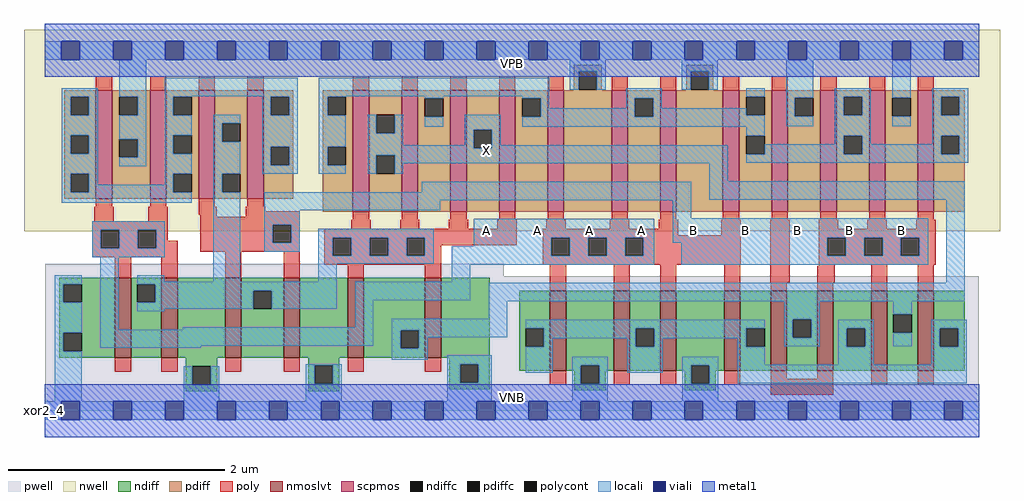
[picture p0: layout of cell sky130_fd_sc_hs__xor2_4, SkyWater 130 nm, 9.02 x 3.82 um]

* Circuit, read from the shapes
.subckt sky130_fd_sc_hs__xor2_4 A B VGND VNB VPB VPWR X
XM1 n1 A VGND VNB sky130_fd_pr__nfet_01v8_lvt w=0.74 l=0.15 m=2
XM2 n1 B VGND VNB sky130_fd_pr__nfet_01v8_lvt w=0.74 l=0.15 m=2
XM3 X n1 VGND VNB sky130_fd_pr__nfet_01v8_lvt w=0.74 l=0.15 m=2
XM4 VGND A n2 VNB sky130_fd_pr__nfet_01v8_lvt w=0.74 l=0.15 m=4
XM5 X B n2 VNB sky130_fd_pr__nfet_01v8_lvt w=0.74 l=0.15 m=4
XM6 VPWR A n3 VPB sky130_fd_pr__pfet_01v8 w=1 l=0.15 m=2
XM7 n1 B n3 VPB sky130_fd_pr__pfet_01v8 w=1 l=0.15 m=2
XM8 X n1 n4 VPB sky130_fd_pr__pfet_01v8 w=1.12 l=0.15 m=4
XM9 VPWR A n4 VPB sky130_fd_pr__pfet_01v8 w=1.12 l=0.15 m=4
XM10 VPWR B n4 VPB sky130_fd_pr__pfet_01v8 w=1.12 l=0.15 m=4
.ends

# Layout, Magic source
magic
tech sky130A
magscale 1 2
<< nwell >>
rect -38 332 1766 704
<< pwell >>
rect 1 248 849 272
rect 1 49 1727 248
rect 0 0 1728 49
<< scpmos >>
rect 95 392 125 592
rect 195 392 225 592
rect 285 392 315 592
rect 375 392 405 592
rect 570 368 600 592
rect 660 368 690 592
rect 750 368 780 592
rect 840 368 870 592
rect 930 368 960 592
rect 1048 368 1078 592
rect 1138 368 1168 592
rect 1254 368 1284 592
rect 1344 368 1374 592
rect 1434 368 1464 592
rect 1524 368 1554 592
rect 1614 368 1644 592
<< nmoslvt >>
rect 130 98 160 246
rect 216 98 246 246
rect 334 98 364 246
rect 442 98 472 246
rect 560 98 590 246
rect 703 98 733 246
rect 934 74 964 222
rect 1052 74 1082 222
rect 1138 74 1168 222
rect 1256 74 1286 222
rect 1342 74 1372 222
rect 1428 74 1458 222
rect 1528 74 1558 222
rect 1614 74 1644 222
<< ndiff >>
rect 27 234 130 246
rect 27 200 35 234
rect 69 200 130 234
rect 27 144 130 200
rect 27 110 35 144
rect 69 110 130 144
rect 27 98 130 110
rect 160 234 216 246
rect 160 200 171 234
rect 205 200 216 234
rect 160 98 216 200
rect 246 98 334 246
rect 364 222 442 246
rect 364 188 386 222
rect 420 188 442 222
rect 364 98 442 188
rect 472 98 560 246
rect 590 149 703 246
rect 590 115 658 149
rect 692 115 703 149
rect 590 98 703 115
rect 733 98 823 246
rect 261 82 319 98
rect 261 48 273 82
rect 307 48 319 82
rect 487 84 545 98
rect 261 36 319 48
rect 487 50 499 84
rect 533 50 545 84
rect 748 86 823 98
rect 487 36 545 50
rect 748 52 768 86
rect 802 52 823 86
rect 877 152 934 222
rect 877 118 889 152
rect 923 118 934 152
rect 877 74 934 118
rect 964 84 1052 222
rect 964 74 991 84
rect 748 40 823 52
rect 979 50 991 74
rect 1025 74 1052 84
rect 1082 152 1138 222
rect 1082 118 1093 152
rect 1127 118 1138 152
rect 1082 74 1138 118
rect 1168 84 1256 222
rect 1168 74 1195 84
rect 1025 50 1037 74
rect 979 38 1037 50
rect 1183 50 1195 74
rect 1229 74 1256 84
rect 1286 152 1342 222
rect 1286 118 1297 152
rect 1331 118 1342 152
rect 1286 74 1342 118
rect 1372 169 1428 222
rect 1372 135 1383 169
rect 1417 135 1428 169
rect 1372 74 1428 135
rect 1458 152 1528 222
rect 1458 118 1483 152
rect 1517 118 1528 152
rect 1458 74 1528 118
rect 1558 178 1614 222
rect 1558 144 1569 178
rect 1603 144 1614 178
rect 1558 74 1614 144
rect 1644 152 1701 222
rect 1644 118 1655 152
rect 1689 118 1701 152
rect 1644 74 1701 118
rect 1229 50 1241 74
rect 1183 38 1241 50
<< pdiff >>
rect 978 627 1030 639
rect 978 593 987 627
rect 1021 593 1030 627
rect 1186 627 1236 639
rect 978 592 1030 593
rect 1186 593 1194 627
rect 1228 593 1236 627
rect 1186 592 1236 593
rect 36 580 95 592
rect 36 546 48 580
rect 82 546 95 580
rect 36 509 95 546
rect 36 475 48 509
rect 82 475 95 509
rect 36 438 95 475
rect 36 404 48 438
rect 82 404 95 438
rect 36 392 95 404
rect 125 580 195 592
rect 125 546 138 580
rect 172 546 195 580
rect 125 502 195 546
rect 125 468 138 502
rect 172 468 195 502
rect 125 392 195 468
rect 225 580 285 592
rect 225 546 238 580
rect 272 546 285 580
rect 225 509 285 546
rect 225 475 238 509
rect 272 475 285 509
rect 225 438 285 475
rect 225 404 238 438
rect 272 404 285 438
rect 225 392 285 404
rect 315 531 375 592
rect 315 497 328 531
rect 362 497 375 531
rect 315 438 375 497
rect 315 404 328 438
rect 362 404 375 438
rect 315 392 375 404
rect 405 580 460 592
rect 405 546 418 580
rect 452 546 460 580
rect 405 488 460 546
rect 405 454 418 488
rect 452 454 460 488
rect 405 392 460 454
rect 514 580 570 592
rect 514 546 523 580
rect 557 546 570 580
rect 514 488 570 546
rect 514 454 523 488
rect 557 454 570 488
rect 514 368 570 454
rect 600 547 660 592
rect 600 513 613 547
rect 647 513 660 547
rect 600 472 660 513
rect 600 438 613 472
rect 647 438 660 472
rect 600 368 660 438
rect 690 577 750 592
rect 690 543 703 577
rect 737 543 750 577
rect 690 368 750 543
rect 780 519 840 592
rect 780 485 793 519
rect 827 485 840 519
rect 780 368 840 485
rect 870 577 930 592
rect 870 543 883 577
rect 917 543 930 577
rect 870 368 930 543
rect 960 368 1048 592
rect 1078 577 1138 592
rect 1078 543 1091 577
rect 1125 543 1138 577
rect 1078 368 1138 543
rect 1168 368 1254 592
rect 1284 580 1344 592
rect 1284 546 1297 580
rect 1331 546 1344 580
rect 1284 508 1344 546
rect 1284 474 1297 508
rect 1331 474 1344 508
rect 1284 368 1344 474
rect 1374 578 1434 592
rect 1374 544 1387 578
rect 1421 544 1434 578
rect 1374 368 1434 544
rect 1464 580 1524 592
rect 1464 546 1477 580
rect 1511 546 1524 580
rect 1464 508 1524 546
rect 1464 474 1477 508
rect 1511 474 1524 508
rect 1464 368 1524 474
rect 1554 578 1614 592
rect 1554 544 1567 578
rect 1601 544 1614 578
rect 1554 368 1614 544
rect 1644 580 1701 592
rect 1644 546 1657 580
rect 1691 546 1701 580
rect 1644 508 1701 546
rect 1644 474 1657 508
rect 1691 474 1701 508
rect 1644 368 1701 474
<< ndiffc >>
rect 35 200 69 234
rect 35 110 69 144
rect 171 200 205 234
rect 386 188 420 222
rect 658 115 692 149
rect 273 48 307 82
rect 499 50 533 84
rect 768 52 802 86
rect 889 118 923 152
rect 991 50 1025 84
rect 1093 118 1127 152
rect 1195 50 1229 84
rect 1297 118 1331 152
rect 1383 135 1417 169
rect 1483 118 1517 152
rect 1569 144 1603 178
rect 1655 118 1689 152
<< pdiffc >>
rect 987 593 1021 627
rect 1194 593 1228 627
rect 48 546 82 580
rect 48 475 82 509
rect 48 404 82 438
rect 138 546 172 580
rect 138 468 172 502
rect 238 546 272 580
rect 238 475 272 509
rect 238 404 272 438
rect 328 497 362 531
rect 328 404 362 438
rect 418 546 452 580
rect 418 454 452 488
rect 523 546 557 580
rect 523 454 557 488
rect 613 513 647 547
rect 613 438 647 472
rect 703 543 737 577
rect 793 485 827 519
rect 883 543 917 577
rect 1091 543 1125 577
rect 1297 546 1331 580
rect 1297 474 1331 508
rect 1387 544 1421 578
rect 1477 546 1511 580
rect 1477 474 1511 508
rect 1567 544 1601 578
rect 1657 546 1691 580
rect 1657 474 1691 508
<< poly >>
rect 95 592 125 618
rect 195 592 225 618
rect 285 592 315 618
rect 375 592 405 618
rect 570 592 600 618
rect 660 592 690 618
rect 750 592 780 618
rect 840 592 870 618
rect 930 592 960 618
rect 1048 592 1078 618
rect 1138 592 1168 618
rect 1254 592 1284 618
rect 1344 592 1374 618
rect 1434 592 1464 618
rect 1524 592 1554 618
rect 1614 592 1644 618
rect 95 377 125 392
rect 195 377 225 392
rect 285 377 315 392
rect 375 377 405 392
rect 92 350 128 377
rect 192 350 228 377
rect 285 362 318 377
rect 88 334 228 350
rect 88 300 104 334
rect 138 300 172 334
rect 206 314 228 334
rect 288 358 318 362
rect 372 369 408 377
rect 372 358 472 369
rect 288 344 472 358
rect 570 353 600 368
rect 660 353 690 368
rect 750 353 780 368
rect 840 353 870 368
rect 930 353 960 368
rect 1048 353 1078 368
rect 1138 353 1168 368
rect 1254 353 1284 368
rect 1344 353 1374 368
rect 1434 353 1464 368
rect 1524 353 1554 368
rect 1614 353 1644 368
rect 206 300 246 314
rect 88 284 246 300
rect 288 310 422 344
rect 456 310 472 344
rect 567 336 603 353
rect 657 336 693 353
rect 747 336 783 353
rect 837 336 873 353
rect 927 336 963 353
rect 1045 336 1081 353
rect 1135 336 1171 353
rect 288 294 472 310
rect 130 246 160 284
rect 216 246 246 284
rect 334 246 364 294
rect 442 246 472 294
rect 517 320 873 336
rect 517 286 533 320
rect 567 286 601 320
rect 635 286 669 320
rect 703 306 873 320
rect 921 324 1171 336
rect 1251 324 1287 353
rect 921 320 1287 324
rect 703 286 733 306
rect 517 270 733 286
rect 921 286 937 320
rect 971 286 1005 320
rect 1039 286 1073 320
rect 1107 286 1287 320
rect 921 270 1287 286
rect 560 246 590 270
rect 703 246 733 270
rect 934 222 964 270
rect 1052 222 1082 270
rect 1138 222 1168 270
rect 1256 222 1286 270
rect 1341 237 1377 353
rect 1431 336 1467 353
rect 1521 336 1557 353
rect 1611 336 1647 353
rect 1431 320 1647 336
rect 1431 286 1447 320
rect 1481 286 1515 320
rect 1549 286 1583 320
rect 1617 286 1647 320
rect 1431 270 1647 286
rect 1431 267 1461 270
rect 1428 237 1461 267
rect 1342 222 1372 237
rect 1428 222 1458 237
rect 1528 222 1558 270
rect 1614 222 1644 270
rect 130 72 160 98
rect 216 72 246 98
rect 334 72 364 98
rect 442 72 472 98
rect 560 72 590 98
rect 703 72 733 98
rect 934 48 964 74
rect 1052 48 1082 74
rect 1138 48 1168 74
rect 1256 48 1286 74
rect 1342 59 1372 74
rect 1428 59 1458 74
rect 1342 29 1458 59
rect 1528 48 1558 74
rect 1614 48 1644 74
<< polycont >>
rect 104 300 138 334
rect 172 300 206 334
rect 422 310 456 344
rect 533 286 567 320
rect 601 286 635 320
rect 669 286 703 320
rect 937 286 971 320
rect 1005 286 1039 320
rect 1073 286 1107 320
rect 1447 286 1481 320
rect 1515 286 1549 320
rect 1583 286 1617 320
<< locali >>
rect 0 649 31 683
rect 65 649 127 683
rect 161 649 223 683
rect 257 649 319 683
rect 353 649 415 683
rect 449 649 511 683
rect 545 649 607 683
rect 641 649 703 683
rect 737 649 799 683
rect 833 649 895 683
rect 929 649 991 683
rect 1025 649 1087 683
rect 1121 649 1183 683
rect 1217 649 1279 683
rect 1313 649 1375 683
rect 1409 649 1471 683
rect 1505 649 1567 683
rect 1601 649 1663 683
rect 1697 649 1728 683
rect 32 580 98 596
rect 32 546 48 580
rect 82 546 98 580
rect 32 509 98 546
rect 32 475 48 509
rect 82 475 98 509
rect 32 438 98 475
rect 138 580 188 649
rect 971 627 1037 649
rect 172 546 188 580
rect 138 502 188 546
rect 172 468 188 502
rect 138 452 188 468
rect 222 581 468 615
rect 222 580 272 581
rect 222 546 238 580
rect 402 580 468 581
rect 222 509 272 546
rect 222 475 238 509
rect 32 404 48 438
rect 82 418 98 438
rect 222 438 272 475
rect 222 418 238 438
rect 82 404 238 418
rect 32 384 272 404
rect 312 531 362 547
rect 312 497 328 531
rect 312 438 362 497
rect 402 546 418 580
rect 452 546 468 580
rect 402 488 468 546
rect 402 454 418 488
rect 452 454 468 488
rect 402 438 468 454
rect 507 581 933 615
rect 971 593 987 627
rect 1021 593 1037 627
rect 1178 627 1244 649
rect 507 580 557 581
rect 507 546 523 580
rect 703 577 737 581
rect 507 488 557 546
rect 507 454 523 488
rect 507 438 557 454
rect 597 513 613 547
rect 647 513 663 547
rect 883 577 933 581
rect 703 525 737 543
rect 597 491 663 513
rect 777 519 843 547
rect 917 559 933 577
rect 1075 577 1141 596
rect 1178 593 1194 627
rect 1228 593 1244 627
rect 1075 559 1091 577
rect 917 543 1091 559
rect 1125 559 1141 577
rect 1297 580 1331 596
rect 1125 546 1297 559
rect 1125 543 1331 546
rect 883 525 1331 543
rect 1371 578 1421 649
rect 1371 544 1387 578
rect 1371 526 1421 544
rect 1461 580 1527 596
rect 1461 546 1477 580
rect 1511 546 1527 580
rect 777 491 793 519
rect 597 485 793 491
rect 827 491 843 519
rect 1297 508 1331 525
rect 827 485 1263 491
rect 597 472 1263 485
rect 597 438 613 472
rect 647 457 1263 472
rect 1461 508 1527 546
rect 1567 578 1601 649
rect 1567 526 1601 544
rect 1641 580 1707 596
rect 1641 546 1657 580
rect 1691 546 1707 580
rect 1461 492 1477 508
rect 1331 474 1477 492
rect 1511 492 1527 508
rect 1641 508 1707 546
rect 1641 492 1657 508
rect 1511 474 1657 492
rect 1691 474 1707 508
rect 1297 458 1707 474
rect 647 438 663 457
rect 312 404 328 438
rect 1229 424 1263 457
rect 697 404 1195 423
rect 88 334 222 350
rect 88 300 104 334
rect 138 300 172 334
rect 206 300 222 334
rect 88 284 222 300
rect 19 234 69 250
rect 19 200 35 234
rect 19 144 69 200
rect 19 110 35 144
rect 103 150 137 284
rect 171 238 221 250
rect 312 238 362 404
rect 406 389 1195 404
rect 1229 390 1701 424
rect 406 370 731 389
rect 406 344 472 370
rect 1161 356 1195 389
rect 406 310 422 344
rect 456 310 472 344
rect 406 294 472 310
rect 506 320 719 336
rect 506 286 533 320
rect 567 286 601 320
rect 635 286 669 320
rect 703 286 719 320
rect 793 320 1127 355
rect 793 304 937 320
rect 506 272 719 286
rect 753 286 937 304
rect 971 286 1005 320
rect 1039 286 1073 320
rect 1107 286 1127 320
rect 1161 320 1633 356
rect 1161 310 1447 320
rect 506 238 540 272
rect 753 270 1127 286
rect 1177 286 1447 310
rect 1481 286 1515 320
rect 1549 286 1583 320
rect 1617 286 1633 320
rect 1177 270 1633 286
rect 753 238 787 270
rect 171 234 540 238
rect 205 222 540 234
rect 205 200 386 222
rect 171 188 386 200
rect 420 188 540 222
rect 574 204 787 238
rect 1667 236 1701 390
rect 171 184 221 188
rect 574 154 608 204
rect 821 202 1701 236
rect 821 170 855 202
rect 255 150 608 154
rect 103 120 608 150
rect 642 149 855 170
rect 1367 169 1433 202
rect 103 116 289 120
rect 19 17 69 110
rect 642 115 658 149
rect 692 136 855 149
rect 889 152 1331 168
rect 692 115 708 136
rect 642 94 708 115
rect 923 134 1093 152
rect 923 118 939 134
rect 744 86 827 102
rect 483 84 549 86
rect 257 48 273 82
rect 307 48 323 82
rect 257 17 323 48
rect 483 50 499 84
rect 533 50 549 84
rect 483 17 549 50
rect 744 52 768 86
rect 802 52 827 86
rect 889 70 939 118
rect 1077 118 1093 134
rect 1127 134 1297 152
rect 1127 118 1143 134
rect 975 84 1041 100
rect 744 17 827 52
rect 975 50 991 84
rect 1025 50 1041 84
rect 1077 70 1143 118
rect 1281 118 1297 134
rect 1367 135 1383 169
rect 1417 135 1433 169
rect 1569 178 1603 202
rect 1367 119 1433 135
rect 1467 152 1533 168
rect 1179 84 1245 100
rect 975 17 1041 50
rect 1179 50 1195 84
rect 1229 50 1245 84
rect 1281 85 1331 118
rect 1467 118 1483 152
rect 1517 118 1533 152
rect 1569 119 1603 144
rect 1639 152 1705 168
rect 1467 85 1533 118
rect 1639 118 1655 152
rect 1689 118 1705 152
rect 1639 85 1705 118
rect 1281 51 1705 85
rect 1179 17 1245 50
rect 0 -17 31 17
rect 65 -17 127 17
rect 161 -17 223 17
rect 257 -17 319 17
rect 353 -17 415 17
rect 449 -17 511 17
rect 545 -17 607 17
rect 641 -17 703 17
rect 737 -17 799 17
rect 833 -17 895 17
rect 929 -17 991 17
rect 1025 -17 1087 17
rect 1121 -17 1183 17
rect 1217 -17 1279 17
rect 1313 -17 1375 17
rect 1409 -17 1471 17
rect 1505 -17 1567 17
rect 1601 -17 1663 17
rect 1697 -17 1728 17
<< viali >>
rect 31 649 65 683
rect 127 649 161 683
rect 223 649 257 683
rect 319 649 353 683
rect 415 649 449 683
rect 511 649 545 683
rect 607 649 641 683
rect 703 649 737 683
rect 799 649 833 683
rect 895 649 929 683
rect 991 649 1025 683
rect 1087 649 1121 683
rect 1183 649 1217 683
rect 1279 649 1313 683
rect 1375 649 1409 683
rect 1471 649 1505 683
rect 1567 649 1601 683
rect 1663 649 1697 683
rect 31 -17 65 17
rect 127 -17 161 17
rect 223 -17 257 17
rect 319 -17 353 17
rect 415 -17 449 17
rect 511 -17 545 17
rect 607 -17 641 17
rect 703 -17 737 17
rect 799 -17 833 17
rect 895 -17 929 17
rect 991 -17 1025 17
rect 1087 -17 1121 17
rect 1183 -17 1217 17
rect 1279 -17 1313 17
rect 1375 -17 1409 17
rect 1471 -17 1505 17
rect 1567 -17 1601 17
rect 1663 -17 1697 17
<< metal1 >>
rect 0 683 1728 715
rect 0 649 31 683
rect 65 649 127 683
rect 161 649 223 683
rect 257 649 319 683
rect 353 649 415 683
rect 449 649 511 683
rect 545 649 607 683
rect 641 649 703 683
rect 737 649 799 683
rect 833 649 895 683
rect 929 649 991 683
rect 1025 649 1087 683
rect 1121 649 1183 683
rect 1217 649 1279 683
rect 1313 649 1375 683
rect 1409 649 1471 683
rect 1505 649 1567 683
rect 1601 649 1663 683
rect 1697 649 1728 683
rect 0 617 1728 649
rect 0 17 1728 49
rect 0 -17 31 17
rect 65 -17 127 17
rect 161 -17 223 17
rect 257 -17 319 17
rect 353 -17 415 17
rect 449 -17 511 17
rect 545 -17 607 17
rect 641 -17 703 17
rect 737 -17 799 17
rect 833 -17 895 17
rect 929 -17 991 17
rect 1025 -17 1087 17
rect 1121 -17 1183 17
rect 1217 -17 1279 17
rect 1313 -17 1375 17
rect 1409 -17 1471 17
rect 1505 -17 1567 17
rect 1601 -17 1663 17
rect 1697 -17 1728 17
rect 0 -49 1728 -17
<< labels >>
rlabel comment s 0 0 0 0 4 xor2_4
flabel pwell s 0 0 1728 49 0 FreeSans 200 0 0 0 VNB
port 4 nsew ground bidirectional
flabel nwell s 0 617 1728 666 0 FreeSans 200 0 0 0 VPB
port 5 nsew power bidirectional
flabel metal1 s 0 617 1728 666 0 FreeSans 340 0 0 0 VPWR
port 6 nsew power bidirectional
flabel metal1 s 0 0 1728 49 0 FreeSans 340 0 0 0 VGND
port 3 nsew ground bidirectional
flabel locali s 799 316 833 350 0 FreeSans 340 0 0 0 A
port 1 nsew signal input
flabel locali s 895 316 929 350 0 FreeSans 340 0 0 0 A
port 1 nsew signal input
flabel locali s 991 316 1025 350 0 FreeSans 340 0 0 0 A
port 1 nsew signal input
flabel locali s 1087 316 1121 350 0 FreeSans 340 0 0 0 A
port 1 nsew signal input
flabel locali s 1183 316 1217 350 0 FreeSans 340 0 0 0 B
port 2 nsew signal input
flabel locali s 1279 316 1313 350 0 FreeSans 340 0 0 0 B
port 2 nsew signal input
flabel locali s 1375 316 1409 350 0 FreeSans 340 0 0 0 B
port 2 nsew signal input
flabel locali s 1471 316 1505 350 0 FreeSans 340 0 0 0 B
port 2 nsew signal input
flabel locali s 1567 316 1601 350 0 FreeSans 340 0 0 0 B
port 2 nsew signal input
flabel locali s 799 464 833 498 0 FreeSans 340 0 0 0 X
port 7 nsew signal output
<< properties >>
string LEFsite unit
string LEFclass CORE
string FIXED_BBOX 0 0 1728 666
string GDS_FILE $PDKPATH/libs.ref/sky130_fd_sc_hs/gds/sky130_fd_sc_hs.gds
string LEFsymmetry X Y
string GDS_END 1210074
string GDS_START 1197218
<< end >>
